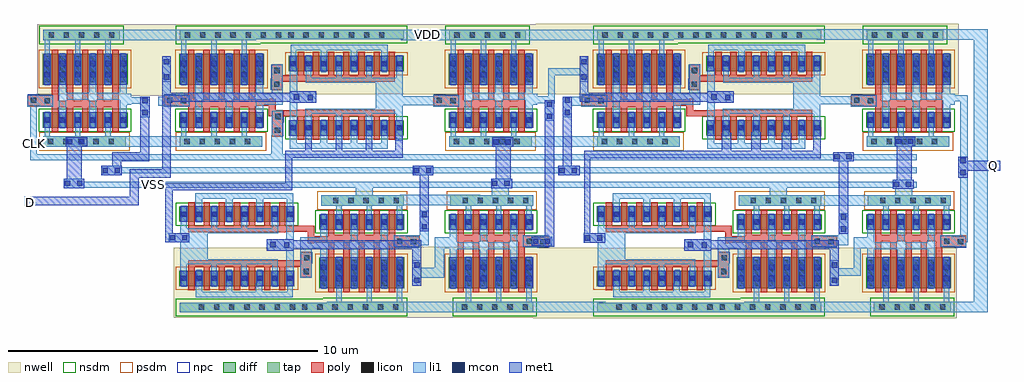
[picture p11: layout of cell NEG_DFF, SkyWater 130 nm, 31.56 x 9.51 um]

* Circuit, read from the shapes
.subckt NEG_DFF CLK D Q VDD VSS
XM1 TG_MAGIC#0_1/CLK CLK VSS VSS sky130_fd_pr__nfet_01v8 w=0.5 l=0.2 m=5
XM2 TG_MAGIC#0_3/inverter#0_0/OUT CLK VSS VSS sky130_fd_pr__nfet_01v8 w=0.5 l=0.2 m=5
XM3 TG_MAGIC#0_2/IN TG_MAGIC#0_1/CLK inverter#0_8/IN VSS sky130_fd_pr__nfet_01v8 w=0.5 l=0.2 m=7
XM4 inverter#0_8/IN CLK D VSS sky130_fd_pr__nfet_01v8 w=0.5 l=0.2 m=7
XM5 VSS TG_MAGIC#0_1/CLK TG_MAGIC#0_2/inverter#0_0/OUT VSS sky130_fd_pr__nfet_01v8 w=0.5 l=0.2 m=5
XM6 VSS TG_MAGIC#0_1/IN TG_MAGIC#0_2/IN VSS sky130_fd_pr__nfet_01v8 w=0.5 l=0.2 m=5
XM7 TG_MAGIC#0_1/IN inverter#0_8/IN VSS VSS sky130_fd_pr__nfet_01v8 w=0.5 l=0.2 m=5
XM8 TG_MAGIC#0_1/inverter#0_0/OUT TG_MAGIC#0_1/CLK VSS VSS sky130_fd_pr__nfet_01v8 w=0.5 l=0.2 m=5
XM9 TG_MAGIC#0_0/IN CLK inverter#0_5/IN VSS sky130_fd_pr__nfet_01v8 w=0.5 l=0.2 m=7
XM10 inverter#0_5/IN TG_MAGIC#0_1/CLK TG_MAGIC#0_1/IN VSS sky130_fd_pr__nfet_01v8 w=0.5 l=0.2 m=7
XM11 VSS CLK TG_MAGIC#0_0/inverter#0_0/OUT VSS sky130_fd_pr__nfet_01v8 w=0.5 l=0.2 m=5
XM12 VSS Q TG_MAGIC#0_0/IN VSS sky130_fd_pr__nfet_01v8 w=0.5 l=0.2 m=5
XM13 Q inverter#0_5/IN VSS VSS sky130_fd_pr__nfet_01v8 w=0.5 l=0.2 m=5
XM14 TG_MAGIC#0_1/CLK CLK VDD VDD sky130_fd_pr__pfet_01v8 w=1 l=0.2 m=5
XM15 TG_MAGIC#0_3/inverter#0_0/OUT CLK VDD VDD sky130_fd_pr__pfet_01v8 w=1 l=0.2 m=5
XM16 TG_MAGIC#0_2/IN TG_MAGIC#0_2/inverter#0_0/OUT inverter#0_8/IN VDD sky130_fd_pr__pfet_01v8 w=0.5 l=0.2 m=7
XM17 inverter#0_8/IN TG_MAGIC#0_3/inverter#0_0/OUT D VDD sky130_fd_pr__pfet_01v8 w=0.5 l=0.2 m=7
XM18 VDD TG_MAGIC#0_1/CLK TG_MAGIC#0_2/inverter#0_0/OUT VDD sky130_fd_pr__pfet_01v8 w=1 l=0.2 m=5
XM19 VDD TG_MAGIC#0_1/IN TG_MAGIC#0_2/IN VDD sky130_fd_pr__pfet_01v8 w=1 l=0.2 m=5
XM20 TG_MAGIC#0_1/IN inverter#0_8/IN VDD VDD sky130_fd_pr__pfet_01v8 w=1 l=0.2 m=5
XM21 TG_MAGIC#0_1/inverter#0_0/OUT TG_MAGIC#0_1/CLK VDD VDD sky130_fd_pr__pfet_01v8 w=1 l=0.2 m=5
XM22 TG_MAGIC#0_0/IN TG_MAGIC#0_0/inverter#0_0/OUT inverter#0_5/IN VDD sky130_fd_pr__pfet_01v8 w=0.5 l=0.2 m=7
XM23 inverter#0_5/IN TG_MAGIC#0_1/inverter#0_0/OUT TG_MAGIC#0_1/IN VDD sky130_fd_pr__pfet_01v8 w=0.5 l=0.2 m=7
XM24 VDD CLK TG_MAGIC#0_0/inverter#0_0/OUT VDD sky130_fd_pr__pfet_01v8 w=1 l=0.2 m=5
XM25 VDD Q TG_MAGIC#0_0/IN VDD sky130_fd_pr__pfet_01v8 w=1 l=0.2 m=5
XM26 Q inverter#0_5/IN VDD VDD sky130_fd_pr__pfet_01v8 w=1 l=0.2 m=5
.ends

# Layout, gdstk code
from math import pi, radians
import gdstk
lib = gdstk.Library(unit=1e-6, precision=1e-09)
def R(c, l, rs):  # rectangles x0, y0, x1, y1
    for r in rs: c.add(gdstk.rectangle(r[:2], r[2:], *l))
def A(c, l, x, y, w, h, nx, ny, dx, dy):  # array of equal rectangles
    R(c, l, [(x+i*dx, y+j*dy, x+i*dx+w, y+j*dy+h) for i in range(nx) for j in range(ny)])
nwell = (64, 20)
diff = (65, 20)
tap = (65, 44)
poly = (66, 20)
licon = (66, 44)
li1 = (67, 20)
mcon = (67, 44)
met1 = (68, 20)
nsdm = (93, 44)
psdm = (94, 20)
npc = (95, 20)

sky130_fd_pr__nfet_01v8_ = lib.new_cell('sky130_fd_pr__nfet_01v8_S4GQ7J#0')
R(sky130_fd_pr__nfet_01v8_, diff, [(-0.39,-0.25,0.39,0.25)])
R(sky130_fd_pr__nfet_01v8_, poly, [(-0.1,-0.38,0.1,0.38)])
R(sky130_fd_pr__nfet_01v8_, licon, [(-0.33,-0.085,-0.16,0.085), (0.16,-0.085,0.33,0.085)])
R(sky130_fd_pr__nfet_01v8_, li1, [(-0.33,-0.27,-0.16,0.27), (0.16,-0.27,0.33,0.27)])
R(sky130_fd_pr__nfet_01v8_, mcon, [(-0.33,-0.085,-0.16,0.085), (0.16,-0.085,0.33,0.085)])
R(sky130_fd_pr__nfet_01v8_, met1, [(-0.36,-0.25,-0.13,0.25), (0.13,-0.25,0.36,0.25)])
R(sky130_fd_pr__nfet_01v8_, nsdm, [(-0.515,-0.375,0.515,0.375)])

sky130_fd_pr__pfet_01v8_ = lib.new_cell('sky130_fd_pr__pfet_01v8_ES6JQB#0')
R(sky130_fd_pr__pfet_01v8_, nwell, [(-0.57,-0.81,0.57,0.81)])
R(sky130_fd_pr__pfet_01v8_, diff, [(-0.39,-0.5,0.39,0.5)])
R(sky130_fd_pr__pfet_01v8_, poly, [(-0.1,-0.63,0.1,0.63)])
A(sky130_fd_pr__pfet_01v8_, licon, -0.33, -0.425, 0.17, 0.17, 1, 3, 0, 0.34)
A(sky130_fd_pr__pfet_01v8_, licon, 0.16, -0.425, 0.17, 0.17, 1, 3, 0, 0.34)
R(sky130_fd_pr__pfet_01v8_, li1, [(-0.33,-0.52,-0.16,0.52), (0.16,-0.52,0.33,0.52)])
R(sky130_fd_pr__pfet_01v8_, mcon, [(-0.33,-0.265,-0.16,-0.095), (0.16,-0.265,0.33,-0.095), (-0.33,0.095,-0.16,0.265), (0.16,0.095,0.33,0.265)])
R(sky130_fd_pr__pfet_01v8_, met1, [(-0.36,-0.5,-0.13,0.5), (0.13,-0.5,0.36,0.5)])
R(sky130_fd_pr__pfet_01v8_, psdm, [(-0.515,-0.625,0.515,0.625)])

inverter_0 = lib.new_cell('inverter#0')
R(inverter_0, nwell, [(1.63,0.8,1.85,1.025), (1.42,1.115,4.52,1.835)])
R(inverter_0, tap, [(1.615,-2.135,4.285,-1.795), (1.615,1.315,4.09,1.655)])
A(inverter_0, poly, 1.89, -1.02, 0.2, 0.17, 5, 1, 0.49, 0)
A(inverter_0, poly, 2.38, -0.65, 0.2, 0.53, 4, 1, 0.49, 0)
R(inverter_0, poly, [(1.89,-0.85,4.05,-0.83), (1.1,-0.83,4.05,-0.65), (1.1,-0.65,2.09,-0.46), (1.89,-0.46,2.09,-0.2), (1.96,-0.2,2.09,-0.185)])
A(inverter_0, licon, 1.765, -2.05, 0.17, 0.17, 5, 1, 0.49, 0)
A(inverter_0, licon, 1.785, 1.395, 0.17, 0.17, 5, 1, 0.49, 0)
R(inverter_0, licon, [(1.655,-0.725,1.825,-0.555), (1.21,-0.71,1.38,-0.54)])
R(inverter_0, li1, [(1.615,-2.135,4.285,-1.795), (1.66,-1.795,1.83,-1.52), (2.64,-1.795,2.81,-1.52), (3.62,-1.795,3.79,-1.525), (2.12,-1.08,2.35,-0.615), (3.1,-1.08,3.33,-0.615), (4.08,-1.08,4.31,-0.775), (1.1,-0.83,1.94,-0.46), (4.08,-0.775,4.46,-0.615), (2.12,-0.615,4.46,-0.425), (2.12,-0.425,4.31,-0.385), (2.12,-0.385,2.35,0.88), (3.1,-0.385,3.33,-0.06), (4.08,-0.385,4.31,-0.06), (1.66,0.895,1.83,1.315), (2.64,0.9,2.81,1.315), (3.62,0.9,3.79,1.315), (1.615,1.315,4.09,1.655)])
R(inverter_0, nsdm, [(1.49,1.19,4.215,1.78)])
R(inverter_0, psdm, [(1.49,-2.26,4.41,-1.67)])
R(inverter_0, npc, [(1.555,-0.825,1.925,-0.81), (1.11,-0.81,1.925,-0.455), (1.11,-0.455,1.48,-0.44)])
inverter_0.add(gdstk.Reference(sky130_fd_pr__nfet_01v8_, (2.48,-1.27)))
inverter_0.add(gdstk.Reference(sky130_fd_pr__nfet_01v8_, (1.99,-1.27)))
inverter_0.add(gdstk.Reference(sky130_fd_pr__pfet_01v8_, (1.99,0.38)))
inverter_0.add(gdstk.Reference(sky130_fd_pr__pfet_01v8_, (2.48,0.38)))
inverter_0.add(gdstk.Reference(sky130_fd_pr__pfet_01v8_, (2.97,0.38)))
inverter_0.add(gdstk.Reference(sky130_fd_pr__nfet_01v8_, (3.95,-1.27), x_reflection=True))
inverter_0.add(gdstk.Reference(sky130_fd_pr__nfet_01v8_, (2.97,-1.27)))
inverter_0.add(gdstk.Reference(sky130_fd_pr__nfet_01v8_, (3.46,-1.27), x_reflection=True))
inverter_0.add(gdstk.Reference(sky130_fd_pr__pfet_01v8_, (3.95,0.38)))
inverter_0.add(gdstk.Reference(sky130_fd_pr__pfet_01v8_, (3.46,0.38)))
inverter_0.add(gdstk.Label('VDD', (2.85,1.485), layer=67, texttype=5))
inverter_0.add(gdstk.Label('VSS', (2.83,-1.965), layer=67, texttype=5))
inverter_0.add(gdstk.Label('IN', (1.51,-0.67), layer=67, texttype=5))
inverter_0.add(gdstk.Label('OUT', (4.345,-0.68), layer=67, texttype=5))

c_sky130_fd_pr__pfet_01v8_ = lib.new_cell('sky130_fd_pr__pfet_01v8_WN2VTC#0')
R(c_sky130_fd_pr__pfet_01v8_, nwell, [(-0.57,-0.56,0.57,0.56)])
R(c_sky130_fd_pr__pfet_01v8_, diff, [(-0.39,-0.25,0.39,0.25)])
R(c_sky130_fd_pr__pfet_01v8_, poly, [(-0.1,-0.38,0.1,0.38)])
R(c_sky130_fd_pr__pfet_01v8_, licon, [(-0.33,-0.085,-0.16,0.085), (0.16,-0.085,0.33,0.085)])
R(c_sky130_fd_pr__pfet_01v8_, li1, [(-0.33,-0.27,-0.16,0.27), (0.16,-0.27,0.33,0.27)])
R(c_sky130_fd_pr__pfet_01v8_, mcon, [(-0.33,-0.085,-0.16,0.085), (0.16,-0.085,0.33,0.085)])
R(c_sky130_fd_pr__pfet_01v8_, met1, [(-0.36,-0.25,-0.13,0.25), (0.13,-0.25,0.36,0.25)])
R(c_sky130_fd_pr__pfet_01v8_, psdm, [(-0.515,-0.375,0.515,0.375)])

tg_magic_0 = lib.new_cell('TG_MAGIC#0')
R(tg_magic_0, nwell, [(1.385,1.73,7.84,3.12), (1.385,3.12,4.175,3.155), (4.975,3.12,5.185,3.155), (5.945,3.12,6.155,3.155), (6.925,3.12,7.135,3.135), (7.595,3.12,7.84,3.135), (6.925,3.135,7.84,3.155), (1.385,3.155,7.84,3.995)])
R(tg_magic_0, tap, [(2.25,3.475,2.89,3.5), (2.25,3.5,7.65,3.815)])
R(tg_magic_0, poly, [(3.295,1.015,4.43,1.02), (3.295,1.02,7.37,1.215), (3.295,1.215,3.51,1.355), (4.23,1.215,7.37,1.22), (2.69,1.355,3.51,1.57), (3.31,1.57,3.51,1.575), (3.38,1.855,3.75,2.135), (3.38,2.135,7.37,2.335), (3.38,2.335,3.75,2.695)])
A(tg_magic_0, licon, 3.92, 3.555, 0.17, 0.17, 7, 1, 0.49, 0)
R(tg_magic_0, licon, [(3.46,1.965,3.63,2.135), (3.475,2.41,3.645,2.58), (3.03,3.555,3.2,3.725), (3.52,3.555,3.69,3.725)])
R(tg_magic_0, li1, [(3.975,-0.03,7.14,0.14), (2.72,0.025,3.08,0.365), (3.975,0.14,4.195,0.43), (4.955,0.14,5.175,0.485), (5.935,0.14,6.155,0.485), (6.92,0.14,7.14,0.43), (3.97,0.78,4.205,1.455), (7.415,0.84,7.62,1.055), (5.46,0.845,5.665,1.09), (6.43,0.845,6.635,1.09), (4.47,0.885,4.675,1.09), (7.415,1.055,7.625,1.09), (4.47,1.09,7.625,1.26), (6.75,1.26,7.625,2.095), (-0.28,1.355,0.4,1.645), (2.905,1.385,3.745,1.735), (3.97,1.455,4.83,1.825), (3.38,1.735,3.745,1.855), (3.97,1.825,4.205,2.56), (3.38,1.855,3.75,2.695), (4.485,2.095,7.625,2.265), (-0.16,2.13,0.125,2.95), (4.485,2.265,4.665,2.525), (5.475,2.265,5.655,2.535), (6.445,2.265,6.625,2.535), (7.415,2.265,7.625,2.485), (5.945,2.875,6.155,3.155), (4.975,2.88,5.185,3.155), (6.925,2.9,7.135,3.155), (3.995,2.93,4.175,3.155), (3.995,3.155,7.135,3.325), (2.25,3.475,2.89,3.5), (2.25,3.5,7.65,3.815)])
R(tg_magic_0, mcon, [(4.55,1.535,4.72,1.705), (4.105,1.55,4.275,1.72), (-0.105,2.2,0.065,2.37), (-0.105,2.69,0.065,2.86)])
R(tg_magic_0, met1, [(3.985,1.455,4.83,1.49), (-0.16,1.49,4.83,1.775), (-0.16,1.775,0.125,2.95), (3.985,1.775,4.83,1.825)])
R(tg_magic_0, nsdm, [(2.125,3.35,3.015,3.375), (2.125,3.375,7.775,3.94)])
R(tg_magic_0, npc, [(3.36,1.865,3.73,2.235), (3.375,2.235,3.73,2.31), (3.375,2.31,3.745,2.68)])
tg_magic_0.add(gdstk.Reference(inverter_0, (-1.205,2.16)))
tg_magic_0.add(gdstk.Reference(sky130_fd_pr__nfet_01v8_, (4.82,0.64)))
tg_magic_0.add(gdstk.Reference(sky130_fd_pr__nfet_01v8_, (4.33,0.64)))
tg_magic_0.add(gdstk.Reference(sky130_fd_pr__nfet_01v8_, (5.31,0.64)))
tg_magic_0.add(gdstk.Reference(sky130_fd_pr__nfet_01v8_, (5.8,0.64)))
tg_magic_0.add(gdstk.Reference(sky130_fd_pr__nfet_01v8_, (6.78,0.64)))
tg_magic_0.add(gdstk.Reference(sky130_fd_pr__nfet_01v8_, (6.29,0.64)))
tg_magic_0.add(gdstk.Reference(c_sky130_fd_pr__pfet_01v8_, (4.33,2.715)))
tg_magic_0.add(gdstk.Reference(c_sky130_fd_pr__pfet_01v8_, (4.82,2.715)))
tg_magic_0.add(gdstk.Reference(c_sky130_fd_pr__pfet_01v8_, (5.8,2.715)))
tg_magic_0.add(gdstk.Reference(c_sky130_fd_pr__pfet_01v8_, (5.31,2.715)))
tg_magic_0.add(gdstk.Reference(c_sky130_fd_pr__pfet_01v8_, (6.29,2.715)))
tg_magic_0.add(gdstk.Reference(c_sky130_fd_pr__pfet_01v8_, (6.78,2.715)))
tg_magic_0.add(gdstk.Reference(c_sky130_fd_pr__pfet_01v8_, (7.27,2.715)))
tg_magic_0.add(gdstk.Reference(sky130_fd_pr__nfet_01v8_, (7.27,0.64)))
tg_magic_0.add(gdstk.Label('IN', (-0.035,2.52), layer=68, texttype=5))
tg_magic_0.add(gdstk.Label('CLK', (-0.21,1.47), layer=67, texttype=5))
tg_magic_0.add(gdstk.Label('VSS', (2.915,0.155), layer=67, texttype=5))
tg_magic_0.add(gdstk.Label('VDD', (5.69,3.7), layer=67, texttype=5))
tg_magic_0.add(gdstk.Label('OUT', (7.525,1.565), layer=67, texttype=5))

neg_dff = lib.new_cell('NEG_DFF')
R(neg_dff, nwell, [(3.215,-5.525,16.895,-5.52), (-0.815,-5.52,16.895,-5.34), (-1.025,-5.34,16.895,-5), (-0.815,-5,16.895,-3.255), (-0.815,-3.255,3.39,-3.225), (-9.81,1.66,-8.105,3.46), (-0.81,1.715,0.555,3.465), (3.28,1.715,16.96,3.46), (-10.41,3.46,-8.045,3.8), (2.92,3.46,16.96,3.8), (-1.075,3.465,1.29,3.805), (-9.81,3.8,-8.105,3.98), (3.28,3.8,16.96,3.985), (-0.81,3.805,0.555,3.98)])
R(neg_dff, poly, [(-5.255,0.345,-4.885,1.185)])
R(neg_dff, licon, [(-5.15,0.46,-4.98,0.63), (-5.135,0.905,-4.965,1.075)])
R(neg_dff, li1, [(-1.025,-5.34,1.34,-5), (3.18,-5.34,5.545,-5), (12.39,-5.34,17.9,-5), (17.455,-5,17.9,3.475), (-0.615,-4.215,0.325,-3.905), (12.91,-4.155,13.8,-3.91), (13.57,-3.91,13.8,-3.26), (0.015,-3.905,0.325,-3.26), (0.015,-3.26,0.705,-2.91), (13.57,-3.26,14.205,-2.91), (3.165,-3.19,3.825,-2.89), (-0.47,-3.17,-0.17,-2.06), (13.09,-3.165,13.39,-2.88), (4.845,-3.085,5.53,-2.785), (-8.575,-3.075,-7.915,-2.775), (17.01,-3.075,17.25,-0.995), (13.03,-2.88,13.39,-2.855), (13.09,-2.855,13.39,-2.135), (12.455,-1.89,14.225,-1.55), (-1.1,-1.88,1.5,-1.54), (-2.53,-1.785,-1.975,-1.31), (14.905,-1.78,15.46,-1.35), (10.85,-1.775,11.405,-1.31), (1.86,-1.755,2.415,-1.32), (14.83,-1.35,15.515,-1.31), (-11.97,-1.32,-11.31,-1.31), (1.845,-1.32,2.53,-1.31), (-11.975,-1.31,15.6,-1.115), (-11.97,-1.115,-11.31,-1.02), (1.845,-1.115,2.53,-1.02), (14.83,-1.115,15.515,-1.05), (16.955,-0.995,17.255,-0.31), (-10.755,-0.905,-10.095,-0.85), (4.02,-0.905,4.705,-0.85), (-0.685,-0.9,-0.025,-0.85), (-10.755,-0.85,15.6,-0.655), (-10.755,-0.655,-10.095,-0.605), (-0.685,-0.655,-0.025,-0.6), (4.02,-0.655,4.705,-0.605), (12.91,-0.46,13.57,-0.42), (-13.05,-0.42,15.6,-0.225), (17.01,-0.31,17.25,1.48), (-13.05,-0.225,-12.855,1.5), (-5.26,-0.225,-4.885,0.39), (12.91,-0.225,13.57,-0.16), (-10.075,0.01,-7.59,0.35), (3.065,0.01,5.665,0.35), (1.88,0.02,2.565,0.32), (-11.905,0.025,-11.22,0.325), (14.9,0.04,15.56,0.34), (-1.25,0.215,-1.02,0.875), (-5.255,0.39,-4.885,1.185), (3.585,0.85,3.885,1.425), (-9.5,0.97,-9.2,1.4), (4.16,0.975,4.46,1.34), (4.16,1.34,4.875,1.63), (-1.125,1.355,0.315,1.64), (12.21,1.39,14.07,1.655), (-9.935,1.4,-9.2,1.61), (3.27,1.425,3.91,1.65), (16.62,1.48,17.25,1.665), (-9.5,1.61,-9.2,1.63), (4.16,1.63,4.46,1.635), (3.685,1.65,3.91,2.32), (16.62,1.665,17.245,1.675), (3.685,2.32,4.925,2.545), (-10.41,3.46,-8.045,3.8), (2.92,3.46,5.285,3.8), (-1.075,3.465,1.29,3.805), (12.38,3.475,17.9,3.815)])
R(neg_dff, mcon, [(3.2,-3.125,3.37,-2.955), (3.59,-3.125,3.76,-2.955), (4.88,-3.02,5.05,-2.85), (5.27,-3.02,5.44,-2.85), (-8.54,-3.01,-8.37,-2.84), (-8.15,-3.01,-7.98,-2.84), (13.155,-2.73,13.325,-2.56), (-0.405,-2.655,-0.235,-2.485), (13.155,-2.34,13.325,-2.17), (-0.405,-2.265,-0.235,-2.095), (14.865,-1.285,15.035,-1.115), (15.255,-1.285,15.425,-1.115), (-11.935,-1.255,-11.765,-1.085), (-11.545,-1.255,-11.375,-1.085), (1.88,-1.255,2.05,-1.085), (2.27,-1.255,2.44,-1.085), (17.02,-0.905,17.19,-0.735), (-10.72,-0.84,-10.55,-0.67), (-10.33,-0.84,-10.16,-0.67), (4.055,-0.84,4.225,-0.67), (4.445,-0.84,4.615,-0.67), (-0.65,-0.835,-0.48,-0.665), (-0.26,-0.835,-0.09,-0.665), (17.02,-0.515,17.19,-0.345), (12.945,-0.395,13.115,-0.225), (13.335,-0.395,13.505,-0.225), (1.915,0.085,2.085,0.255), (2.305,0.085,2.475,0.255), (-11.87,0.09,-11.7,0.26), (-11.48,0.09,-11.31,0.26), (14.935,0.105,15.105,0.275), (15.325,0.105,15.495,0.275), (3.65,0.915,3.82,1.085), (-9.435,1.035,-9.265,1.205), (4.225,1.04,4.395,1.21), (3.65,1.305,3.82,1.475), (-9.435,1.425,-9.265,1.595), (4.225,1.43,4.395,1.6)])
R(neg_dff, met1, [(3.58,-3.22,3.88,-3.19), (3.165,-3.19,3.88,-2.89), (4.85,-3.09,5.055,-3.085), (4.845,-3.085,5.53,-2.785), (-8.685,-3.075,-7.915,-2.775), (3.58,-2.89,3.88,0.85), (13.09,-2.795,13.39,-0.46), (4.85,-2.785,5.055,-0.36), (-8.685,-2.775,-8.455,-1.4), (-0.47,-2.72,-0.17,-0.9), (-13.26,-1.885,-9.555,-1.6), (-9.84,-1.6,-9.555,-0.995), (-8.685,-1.4,-4.59,-1.175), (14.83,-1.35,15.515,-1.05), (-11.97,-1.32,-11.31,-1.02), (1.845,-1.32,2.53,-1.02), (-8.645,-1.175,-4.59,-1.17), (-4.82,-1.17,-4.59,-0.34), (14.965,-1.05,15.44,0.04), (-11.87,-1.02,-11.395,0.025), (2,-1.02,2.475,0.02), (-9.84,-0.995,-8.51,-0.71), (16.955,-0.995,17.255,-0.76), (-10.755,-0.905,-10.095,-0.605), (4.02,-0.905,4.705,-0.605), (-0.685,-0.9,-0.025,-0.6), (16.955,-0.76,18.3,-0.44), (-8.795,-0.71,-8.51,2.115), (-10.405,-0.605,-10.115,-0.46), (4.16,-0.605,4.46,1.635), (-10.405,-0.46,-9.21,-0.17), (12.91,-0.46,13.57,-0.16), (16.955,-0.44,17.255,-0.31), (4.85,-0.36,12.505,-0.12), (-4.82,-0.34,-1.02,-0.11), (-9.5,-0.17,-9.21,0.97), (9.305,-0.12,9.61,0.47), (10.26,-0.12,10.565,0.48), (11.24,-0.12,11.545,0.47), (12.265,-0.12,12.505,0.65), (-4.16,-0.11,-3.95,0.45), (-3.18,-0.11,-2.97,0.465), (-2.205,-0.11,-1.995,0.445), (-1.25,-0.11,-1.02,0.875), (1.88,0.02,2.565,0.32), (-11.905,0.025,-11.22,0.325), (14.9,0.04,15.56,0.34), (3.58,0.85,3.885,1.075), (-9.5,0.97,-9.2,1.63), (3.585,1.075,3.885,1.51)])
R(neg_dff, npc, [(-5.25,0.36,-4.88,0.73), (-5.235,0.73,-4.88,0.805), (-5.235,0.805,-4.865,1.175)])
neg_dff.add(gdstk.Reference(tg_magic_0, (12.925,-1.525), rotation=pi))
neg_dff.add(gdstk.Reference(tg_magic_0, (4.865,-0.015)))
neg_dff.add(gdstk.Reference(tg_magic_0, (-0.575,-1.525), rotation=pi))
neg_dff.add(gdstk.Reference(tg_magic_0, (-8.635,-0.015)))
neg_dff.add(gdstk.Reference(inverter_0, (18.315,-3.685), rotation=pi))
neg_dff.add(gdstk.Reference(inverter_0, (12.375,2.145)))
neg_dff.add(gdstk.Reference(inverter_0, (4.815,-3.685), rotation=pi))
neg_dff.add(gdstk.Reference(inverter_0, (-14.25,2.145)))
neg_dff.add(gdstk.Reference(inverter_0, (-1.125,2.145)))
neg_dff.add(gdstk.Label('VDD', (-0.2,3.65), layer=67, texttype=5))
neg_dff.add(gdstk.Label('Q', (18.105,-0.595), layer=68, texttype=5))
neg_dff.add(gdstk.Label('D', (-13.06,-1.782), layer=68, texttype=5))
neg_dff.add(gdstk.Label('CLK', (-12.935,0.13), layer=67, texttype=5))
neg_dff.add(gdstk.Label('VSS', (-9.075,-1.205), layer=67, texttype=5))

lib.write_gds('NEG_DFF.gds')
